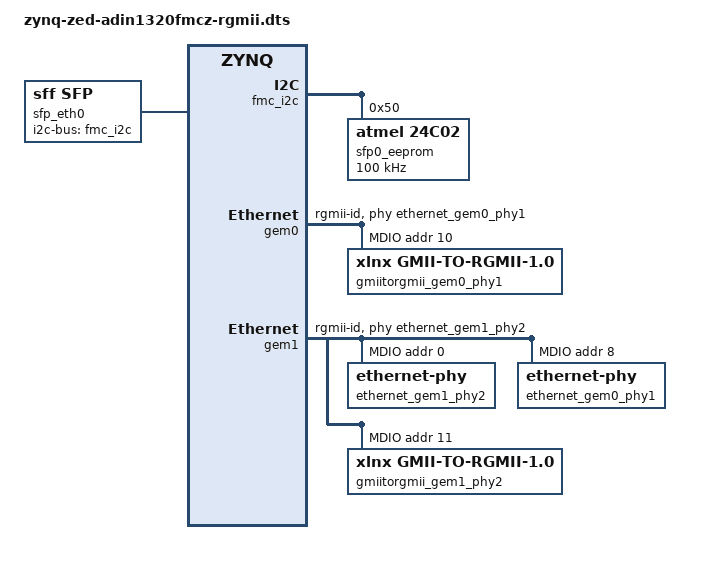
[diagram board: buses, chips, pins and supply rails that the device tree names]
// SPDX-License-Identifier: GPL-2.0+
/*
 *  Avnet ZedBoard with the EVAL-ADIN1320FMCZ board (RGMII mode)
 *
 *  Copyright (C) 2026 Analog Devices Inc.
 *
 *  Both ADIN1320 PHYs on the FMC card are reached through the GEM1 MDIO bus.
 *  Each MAC is connected to its PHY over RGMII via a GMII-to-RGMII bridge in
 *  the PL. The PHY on GEM1 additionally drives an SFP cage over its SerDes
 *  line interface.
 */
/dts-v1/;
#include <dt-bindings/interrupt-controller/irq.h>
#include "zynq-zed.dts"

/ {
	fpga_axi: fpga-axi@0 {
		compatible = "simple-bus";
		#address-cells = <0x1>;
		#size-cells = <0x1>;
		ranges;

		fmc_i2c: i2c@41620000 {
			compatible = "xlnx,axi-iic-1.01.b", "xlnx,xps-iic-2.00.a";
			reg = <0x41620000 0x10000>;
			interrupt-parent = <&intc>;
			interrupts = <0 55 IRQ_TYPE_LEVEL_HIGH>;
			clocks = <&clkc 15>;
			clock-names = "pclk";
			status = "okay";

			#address-cells = <1>;
			#size-cells = <0>;

			sfp0_eeprom: eeprom@50 {
				compatible = "atmel,24c02";
				reg = <0x50>;
				clock-frequency = <100000>;
				read-only;
			};
		};
	};

	sfp_eth0: sfp-eth0 {
		compatible = "sff,sfp";
		i2c-bus = <&fmc_i2c>;
	};
};

/delete-node/ &ethernet_phy;

&gem0 {
	status = "okay";
	phy-mode = "rgmii-id";
	phy-handle = <&ethernet_gem0_phy1>;

	#address-cells = <1>;
	#size-cells = <0>;

	mdio {
		#address-cells = <1>;
		#size-cells = <0>;

		gmiitorgmii_gem0_phy1: gmiitorgmii@0 {
			compatible = "xlnx,gmii-to-rgmii-1.0";
			reg = <10>;
			phy-handle = <&ethernet_gem0_phy1>;
		};
	};
};

&gem1 {
	status = "okay";
	phy-mode = "rgmii-id";
	phy-handle = <&ethernet_gem1_phy2>;

	#address-cells = <1>;
	#size-cells = <0>;

	mdio {
		#address-cells = <1>;
		#size-cells = <0>;

		ethernet_gem1_phy2: ethernet-phy@2 {
			reg = <0>;
			sfp = <&sfp_eth0>;
		};

		ethernet_gem0_phy1: ethernet-phy@1 {
			reg = <8>;
		};

		gmiitorgmii_gem1_phy2: gmiitorgmii@2 {
			compatible = "xlnx,gmii-to-rgmii-1.0";
			reg = <11>;
			phy-handle = <&ethernet_gem1_phy2>;
		};
	};
};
